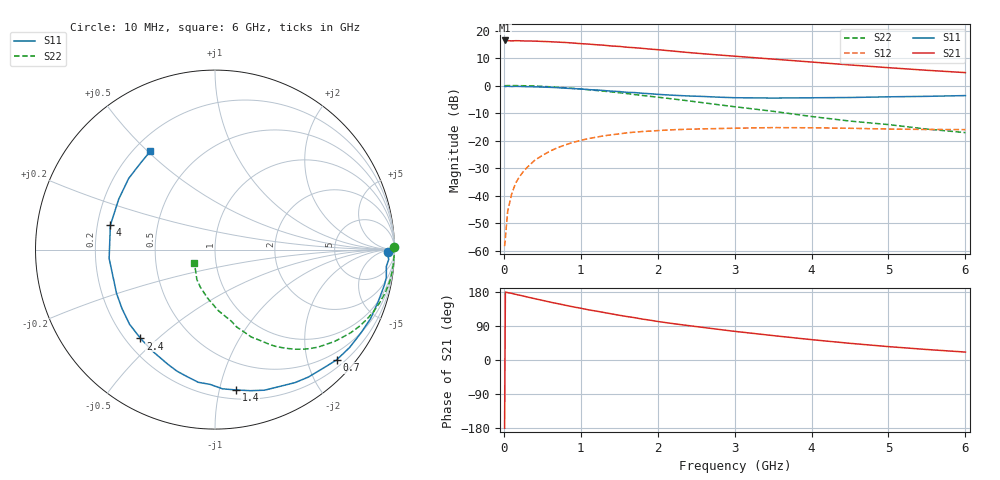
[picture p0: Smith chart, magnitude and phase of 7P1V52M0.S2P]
! (c) 1999  Infineon Technologies AG, Munich
! Infineon Technologies  Discrete & RF Semiconductors
! BFP620
! SiGe NPN RF Grounded Emitter Transistor in SOT343
! VCE = 1.5 V  IC = 2 mA
! Common Emitter S-Parameters:  February  2000
# GHz  S  MA  R  50
!  f  S11  S21  S12  S22
! GHz  MAG  ANG  MAG  ANG  MAG  ANG  MAG  ANG
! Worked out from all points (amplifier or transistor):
!   36 points, 10 MHz to 6 GHz, reference 50 ohm
!   highest |S21| = 16.4 dB at 10 MHz (marker M1)
!   |S21| within 3 dB of that: start of sweep to 1.848 GHz
!   unconditionally stable (mu >= 1): 5.403 GHz to end of sweep
!   at 250 MHz: K = 0.01, MSG = 23.8 dB, |S12| = -31.4 dB
!   at 1.4 GHz: K = 0.20, MSG = 16.1 dB, |S12| = -17.9 dB
!   at 6 GHz: K = 1.09, MAG = 8.5 dB, |S12| = -16.0 dB
!   lowest NFmin = 0.59 dB at 900 MHz
!   S11 on the Smith chart (normalised r, x): 10 MHz: 50, -20; 700 MHz: 0.34, -2.55; 1.4 GHz: 0.27, -1.13; 2.4 GHz: 0.26, -0.44; 4 GHz: 0.25, +0.11; 6 GHz: 0.26, +0.51
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0.01  0.9664 -0.8  6.599 -180.0  0.0012 84.1  0.9999 0.7
0.02  0.9581 -1.0  6.505 179.3  0.0017 82.1  0.992 -0.8
0.05  0.9695 -3.2  6.54 177.8  0.0052 96.9  0.9975 -1.8
0.1  0.9593 -5.6  6.49 175.9  0.0104 87.7  0.9979 -3.5
0.15  0.9671 -9.2  6.529 173.5  0.0165 85.1  0.9963 -5.4
0.4  0.9481 -24.0  6.42 161.9  0.0436 77.8  0.9777 -14.4
0.6  0.9274 -36.0  6.259 152.9  0.0641 71.0  0.9485 -21.4
0.7  0.9147 -42.2  6.159 148.7  0.0743 67.6  0.93 -24.8
0.9  0.88 -53.9  5.924 140.3  0.0926 60.3  0.8867 -31.5
1.1  0.8428 -64.9  5.67 132.4  0.1086 53.9  0.8402 -37.5
1.3  0.8105 -75.9  5.411 125.4  0.1218 48.0  0.7896 -43.5
1.4  0.7909 -81.4  5.23 121.7  0.127 45.1  0.7642 -46.2
1.5  0.7768 -86.9  5.142 118.1  0.1322 42.8  0.7407 -48.5
1.8  0.7235 -102.7  4.743 108.0  0.1457 35.0  0.6599 -55.8
2.2  0.6658 -120.9  4.229 96.0  0.157 27.2  0.5695 -63.2
2.4  0.6459 -130.0  3.98 90.8  0.1605 23.4  0.5269 -67.5
3  0.6005 -155.9  3.415 75.6  0.1675 14.9  0.4117 -76.9
3.5  0.5919 -175.2  3.022 64.4  0.1719 8.5  0.3399 -87.0
4  0.5986 166.8  2.675 53.7  0.1706 2.8  0.2735 -98.7
4.5  0.6056 152.3  2.368 44.0  0.167 -1.8  0.2257 -111.0
5.5  0.6358 130.8  1.893 27.7  0.1588 -6.4  0.1614 -131.7
6  0.6565 123.2  1.717 20.9  0.1579 -7.4  0.1393 -146.3
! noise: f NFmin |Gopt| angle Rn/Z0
0.9  0.59  0.57  23  0.29
1.8  0.7  0.28  73  0.22
2.4  0.79  0.27  89  0.16
3  1.01  0.29  119  0.13
4  1.16  0.37  167  0.06
5  1.59  0.41  -153  0.1
6  1.79  0.48  -119  0.22
